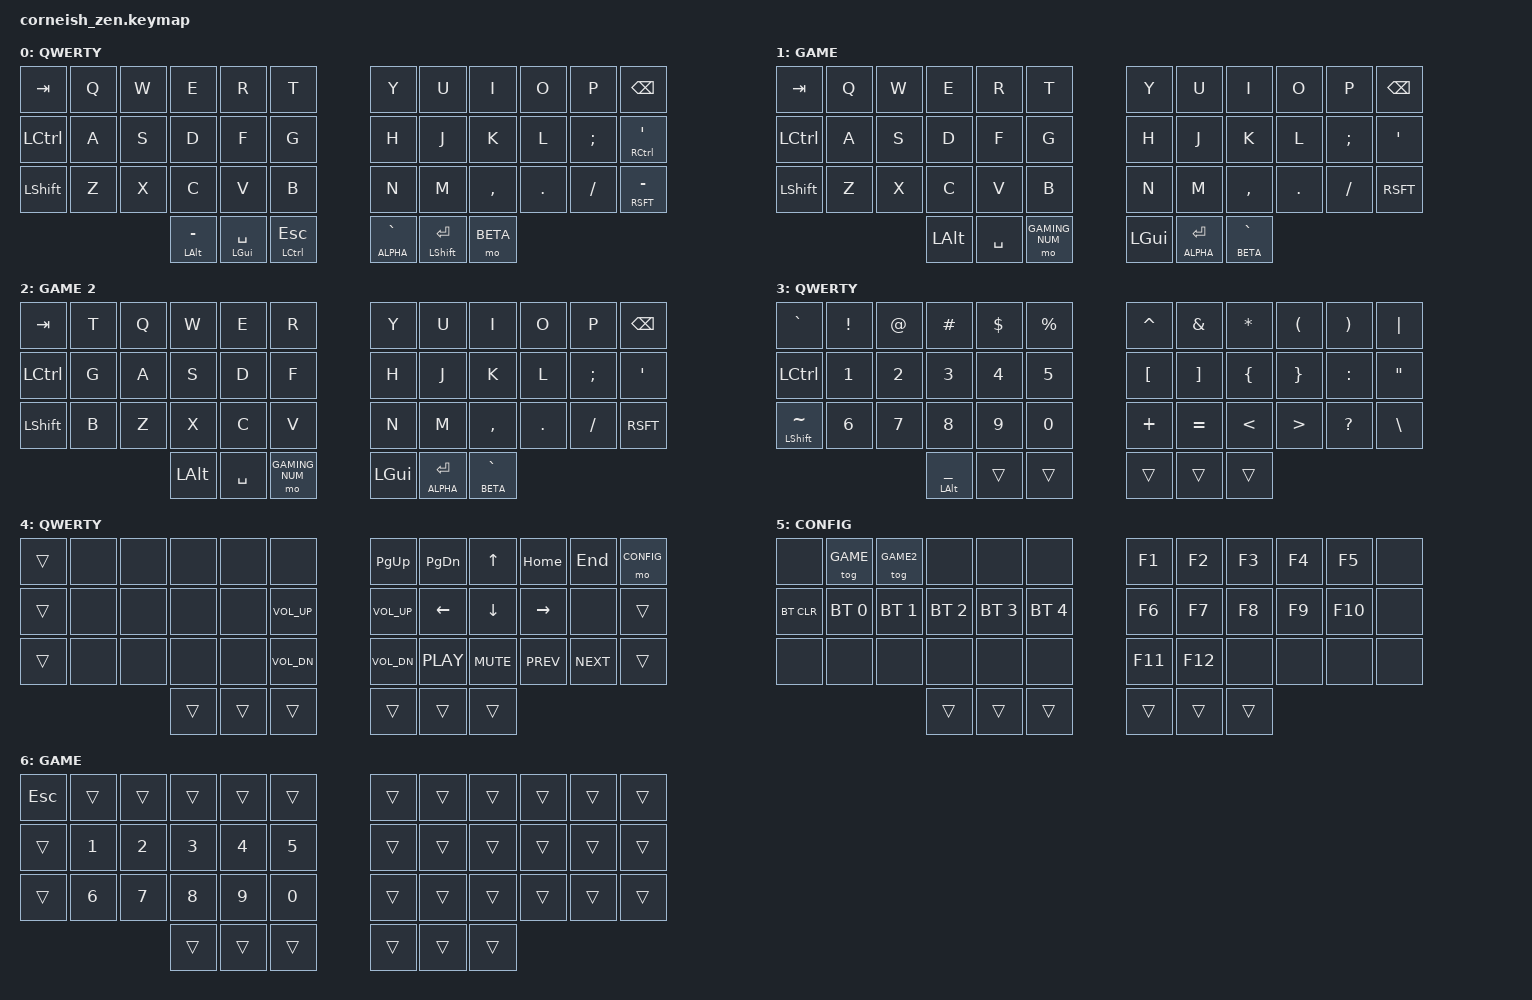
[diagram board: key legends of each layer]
/*
*
* Copyright (c) 2021 lowprokb.ca
* SPDX-License-Identifier: MIT
*
*/

#include <behaviors.dtsi>
#include <dt-bindings/zmk/keys.h>
#include <dt-bindings/zmk/bt.h>

#define DEFAULT 0
#define GAME 1
#define GAME2 2
#define ALPHA 3
#define BETA 4
#define CONFIG 5
#define GAMING_NUM 6

&lt {
    tapping-term-ms = <200>;
};

/ {
    chosen {
        zmk,physical-layout = &foostan_corne_6col_layout;
        // zmk,physical-layout = &foostan_corne_5col_layout;
    };
};

/ {

       behaviors {
           ht_tp: holdtap_tappreferred {
             compatible = "zmk,behavior-hold-tap";
             label = "HOLD_TAP_TAP_PREFERRED";
             #binding-cells = <2>;
             flavor = "tap-preferred";
             tapping-term-ms = <200>;
             quick-tap-ms = <0>;
             bindings = <&kp>, <&kp>;
           };
        };

        keymap {
                compatible = "zmk,keymap";

                default_layer {
                        label = "QWERTY";
                        bindings = <
   &kp TAB   &kp Q       &kp W      &kp E      &kp R        &kp T    &kp Y &kp U        &kp I      &kp O        &kp P          &kp BKSP
   &kp LCTL  &kp A       &kp S      &kp D      &kp F        &kp G    &kp H &kp J        &kp K      &kp L        &kp SEMI       &ht_tp RCTL QUOT
   &kp LSHFT &kp Z       &kp X      &kp C      &kp V        &kp B    &kp N &kp M        &kp CMMA   &kp DOT      &kp FSLH       &ht_tp RSFT MINUS
                &ht_tp LALT MINUS &ht_tp LGUI SPC &ht_tp LCTL ESC    &lt ALPHA GRAVE &ht_tp LSHFT ENTER &mo BETA
                        >;
                };

                gaming_layer {
                        label = "GAME";
                        bindings = <
   &kp TAB   &kp Q &kp W &kp E &kp R &kp T    &kp Y &kp U &kp I    &kp O   &kp P    &kp BKSP
   &kp LCTL  &kp A &kp S &kp D &kp F &kp G    &kp H &kp J &kp K    &kp L   &kp SEMI &kp QUOT
   &kp LSHFT &kp Z &kp X &kp C &kp V &kp B    &kp N &kp M &kp CMMA &kp DOT &kp FSLH &kp RSFT
            &kp LALT &kp SPC &mo GAMING_NUM   &kp LGUI &lt ALPHA ENTER &lt BETA GRAVE
                        >;
                };

                gaming2_layer {
                        label = "GAME 2";
                        bindings = <
   &kp TAB   &kp T &kp Q &kp W &kp E &kp R    &kp Y &kp U &kp I    &kp O   &kp P    &kp BKSP
   &kp LCTL  &kp G &kp A &kp S &kp D &kp F    &kp H &kp J &kp K    &kp L   &kp SEMI &kp QUOT
   &kp LSHFT &kp B &kp Z &kp X &kp C &kp V    &kp N &kp M &kp CMMA &kp DOT &kp FSLH &kp RSFT
            &kp LALT &kp SPC &mo GAMING_NUM   &kp LGUI &lt ALPHA ENTER &lt BETA GRAVE
                        >;
                };

                alpha_layer {
                        label = "QWERTY";
                        bindings = <
   &kp GRAVE          &kp EXCL     &kp AT      &kp HASH    &kp DLLR    &kp PRCNT  &kp CARET &kp AMPS  &kp STAR   &kp LPAR   &kp RPAR  &kp PIPE
   &kp LCTL           &kp N1       &kp N2      &kp N3      &kp N4      &kp N5     &kp LBKT  &kp RBKT  &kp LBRC   &kp RBRC   &kp COLON &kp DQT
   &ht_tp LSHFT TILDE &kp N6       &kp N7      &kp N8      &kp N9      &kp N0     &kp PLUS  &kp EQUAL &kp LT     &kp GT     &kp QMARK &kp BSLH
                                              &ht_tp LALT UNDER &trans &trans     &trans &trans &trans
                        >;
                };

                beta_layer {
                        label = "QWERTY";
                        bindings = <
   &trans      &none   &none &none      &none       &none            &kp PG_UP    &kp PG_DN  &kp UP     &kp HOME   &kp END    &mo CONFIG
   &trans      &none   &none &none      &none       &kp C_VOL_UP     &kp C_VOL_UP &kp LEFT   &kp DOWN   &kp RIGHT  &none      &trans
   &trans      &none   &none &none      &none       &kp C_VOL_DN     &kp C_VOL_DN &kp C_PLAY &kp C_MUTE &kp C_PREV &kp C_NEXT &trans
                                            &trans &trans &trans     &trans &trans &trans
                        >;
                };

                config_layer {
                        label = "CONFIG";
                        bindings = <
   &none      &tog GAME    &tog GAME2    &none       &none        &none           &kp F1   &kp F2  &kp F3 &kp F4 &kp F5  &none
   &bt BT_CLR &bt BT_SEL 0 &bt BT_SEL 1 &bt BT_SEL 2 &bt BT_SEL 3 &bt BT_SEL 4    &kp F6   &kp F7  &kp F8 &kp F9 &kp F10 &none
   &none      &none        &none        &none        &none        &none           &kp F11  &kp F12 &none  &none  &none   &none
                                                           &trans &trans &trans   &trans &trans &trans
                        >;
                };

                gaming_num_layer {
                        label = "GAME";
                        bindings = <
   &kp ESC &trans &trans &trans &trans &trans   &trans &trans &trans &trans &trans &trans
   &trans  &kp N1 &kp N2 &kp N3 &kp N4 &kp N5   &trans &trans &trans &trans &trans &trans
   &trans  &kp N6 &kp N7 &kp N8 &kp N9 &kp N0   &trans &trans &trans &trans &trans &trans
                         &trans &trans &trans   &trans &trans &trans
                        >;
                };
        };
};
